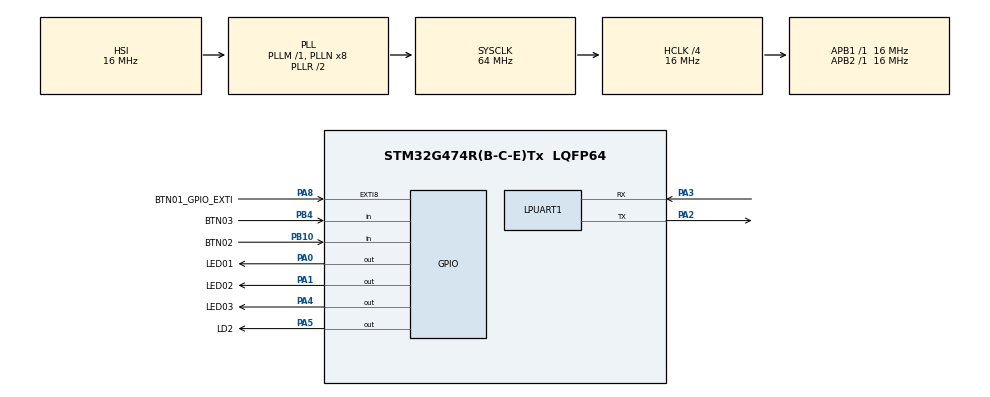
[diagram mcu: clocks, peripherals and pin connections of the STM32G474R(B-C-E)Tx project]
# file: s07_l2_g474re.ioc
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Dma.LPUART1_TX.0.Direction=DMA_MEMORY_TO_PERIPH
Dma.LPUART1_TX.0.EventEnable=DISABLE
Dma.LPUART1_TX.0.Instance=DMA1_Channel1
Dma.LPUART1_TX.0.MemDataAlignment=DMA_MDATAALIGN_BYTE
Dma.LPUART1_TX.0.MemInc=DMA_MINC_ENABLE
Dma.LPUART1_TX.0.Mode=DMA_NORMAL
Dma.LPUART1_TX.0.PeriphDataAlignment=DMA_PDATAALIGN_BYTE
Dma.LPUART1_TX.0.PeriphInc=DMA_PINC_DISABLE
Dma.LPUART1_TX.0.Polarity=HAL_DMAMUX_REQ_GEN_RISING
Dma.LPUART1_TX.0.Priority=DMA_PRIORITY_LOW
Dma.LPUART1_TX.0.RequestNumber=1
Dma.LPUART1_TX.0.SignalID=NONE
Dma.LPUART1_TX.0.SyncEnable=DISABLE
Dma.LPUART1_TX.0.SyncPolarity=HAL_DMAMUX_SYNC_NO_EVENT
Dma.LPUART1_TX.0.SyncRequestNumber=1
Dma.LPUART1_TX.0.SyncSignalID=NONE
Dma.Request0=LPUART1_TX
Mcu.Family=STM32G4
Mcu.Name=STM32G474R(B-C-E)Tx
Mcu.Package=LQFP64
NVIC.DMA1_Channel1_IRQn=true\:0\:0\:false\:false\:true\:false\:true\:true
NVIC.EXTI9_5_IRQn=true\:5\:0\:true\:false\:true\:true\:true\:true
NVIC.LPUART1_IRQn=true\:5\:0\:true\:false\:true\:true\:true\:true
NVIC.PriorityGroup=NVIC_PRIORITYGROUP_4
NVIC.TIM1_BRK_TIM15_IRQn=true\:15\:0\:false\:false\:true\:false\:true\:true
NVIC.TimeBase=TIM1_BRK_TIM15_IRQn
NVIC.TimeBaseIP=TIM15
PA0.GPIO_Label=LED01
PA0.Signal=GPIO_Output
PA1.GPIO_Label=LED02
PA1.Signal=GPIO_Output
PA13.Mode=Serial_Wire
PA13.Signal=SYS_JTMS-SWDIO
PA14.Mode=Serial_Wire
PA14.Signal=SYS_JTCK-SWCLK
PA2.Mode=Asynchronous
PA2.Signal=LPUART1_TX
PA3.Mode=Asynchronous
PA3.Signal=LPUART1_RX
PA4.GPIO_Label=LED03
PA4.Signal=GPIO_Output
PA5.GPIO_Label=LD2
PA5.Signal=GPIO_Output
PA8.GPIO_Label=BTN01_GPIO_EXTI
PA8.GPIO_ModeDefaultEXTI=GPIO_MODE_IT_FALLING
PA8.GPIO_PuPd=GPIO_PULLUP
PA8.Signal=GPXTI8
PB10.GPIO_Label=BTN02
PB10.GPIO_PuPd=GPIO_PULLUP
PB10.Signal=GPIO_Input
PB4.GPIO_Label=BTN03
PB4.GPIO_PuPd=GPIO_PULLUP
PB4.Signal=GPIO_Input
ProjectManager.HeapSize=0x200
ProjectManager.StackSize=0x400
ProjectManager.TargetToolchain=STM32CubeIDE
RCC.ADC12Freq_Value=64000000
RCC.ADC345Freq_Value=64000000
RCC.AHBCLKDivider=RCC_SYSCLK_DIV4
RCC.AHBFreq_Value=16000000
RCC.APB1Freq_Value=16000000
RCC.APB1TimFreq_Value=16000000
RCC.APB2Freq_Value=16000000
RCC.APB2TimFreq_Value=16000000
RCC.CortexFreq_Value=16000000
RCC.EXTERNAL_CLOCK_VALUE=12288000
RCC.HCLKFreq_Value=16000000
RCC.HSE_VALUE=24000000
RCC.HSI48_VALUE=48000000
RCC.HSI_VALUE=16000000
RCC.LSE_VALUE=32768
RCC.RTCClockSelection=RCC_RTCCLKSOURCE_LSE
RCC.SYSCLKFreq_VALUE=64000000
RCC.SYSCLKSource=RCC_SYSCLKSOURCE_PLLCLK
RCC.USBFreq_Value=64000000
RCC.VCOOutputFreq_Value=128000000
VP_SYS_VS_DBSignals.Mode=DisableDeadBatterySignals
VP_SYS_VS_tim15.Mode=TIM15
board=NUCLEO-G474RE

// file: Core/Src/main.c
/* USER CODE BEGIN Header */
/**
  ******************************************************************************
  * @file           : main.c
  * @brief          : Main program body
  ******************************************************************************
  * @attention
  *
  * Copyright (c) 2026 STMicroelectronics.
  * All rights reserved.
  *
  * This software is licensed under terms that can be found in the LICENSE file
  * in the root directory of this software component.
  * If no LICENSE file comes with this software, it is provided AS-IS.
  *
  ******************************************************************************

  */
/* USER CODE END Header */
#include "main.h"

/* USER CODE BEGIN Includes */
#include <stdio.h>
#include <string.h>
#include "FreeRTOS.h"
#include "task.h"
#include <semphr.h>
/* USER CODE END Includes */

UART_HandleTypeDef hlpuart1;
DMA_HandleTypeDef hdma_lpuart1_tx;

/* USER CODE BEGIN PV */

UBaseType_t xWaterMark01 = 0;

SemaphoreHandle_t xUartTxSemaphore = NULL;

/* USER CODE END PV */

void SystemClock_Config(void);
static void MX_GPIO_Init(void);
static void MX_DMA_Init(void);
static void MX_LPUART1_UART_Init(void);

/* USER CODE BEGIN 0 */

/* Hardware realted functions */

// Led interno da NUCLEO-G474RE
void LedLD2On(){
	HAL_GPIO_WritePin(LD2_GPIO_Port, LD2_Pin, GPIO_PIN_SET);
}

void LedLD2Off(){
	HAL_GPIO_WritePin(LD2_GPIO_Port, LD2_Pin, GPIO_PIN_RESET);
}

void Led01On(){
	HAL_GPIO_WritePin(LED01_GPIO_Port, LED01_Pin, GPIO_PIN_SET);
}

void Led01Off(){
	HAL_GPIO_WritePin(LED01_GPIO_Port, LED01_Pin, GPIO_PIN_RESET);
}

/* Local functions*/

/* Callbacks */
void HAL_UART_TxHalfCpltCallback(UART_HandleTypeDef *huart){
	BaseType_t pxHigherPriorityTaskWoken = pdFALSE;

	// Libera o semaforo
	xSemaphoreGiveFromISR(xUartTxSemaphore, &pxHigherPriorityTaskWoken);

	if(pxHigherPriorityTaskWoken == pdTRUE){
		portYIELD_FROM_ISR(pxHigherPriorityTaskWoken);
	}

	Led01Off();
}

void HAL_GPIO_EXTI_Callback(uint16_t GPIO_Pin){

}

/* Tasks */
void TaskUartMessage(void *pvParams){
	char pcMessage[64];
	uint32_t u32MessageIdx = 0;

	while (1){
		// Retorna a quantidade mínima de espaço livre que restou na pilha
		xWaterMark01 = uxTaskGetStackHighWaterMark( NULL );

		vTaskDelay(pdMS_TO_TICKS(500));

		sprintf(pcMessage, "[%ld] This is a message from Mars to Earth\n", u32MessageIdx);

		HAL_UART_Transmit_DMA(&hlpuart1, (uint8_t*)pcMessage, strlen(pcMessage));

		Led01On();

		// Obter o semaforo
		xSemaphoreTake(xUartTxSemaphore, portMAX_DELAY);

		u32MessageIdx++;
	}
}

/* Hooks*/
void vApplicationStackOverflowHook( TaskHandle_t xTask, char *pcTaskName ){
	Error_Handler();
	LedLD2Off();
}

/* USER CODE END 0 */

int main(void)
{

  /* USER CODE BEGIN 1 */
	TaskHandle_t TaskHandle01;
	BaseType_t xReturn;
	BaseType_t uxStackDepth = 164; // em words

  /* USER CODE END 1 */

  /* MCU Configuration--------------------------------------------------------*/

  /* Reset of all peripherals, Initializes the Flash interface and the Systick. */
  HAL_Init();

  /* Configure the system clock */
  SystemClock_Config();

  /* Initialize all configured peripherals */
  MX_GPIO_Init();
  MX_DMA_Init();
  MX_LPUART1_UART_Init();
  /* USER CODE BEGIN 2 */

  LedLD2On();

  // Criando as task
  xReturn = xTaskCreate(TaskUartMessage,
  		  "Task UART Message",
		  uxStackDepth,
  		  NULL,
  		  1,
  		  &TaskHandle01);

  if (xReturn != pdPASS){
    Error_Handler();
  }

  // Criando o semaforo
  xUartTxSemaphore = xSemaphoreCreateBinary();

  /* USER CODE END 2 */

  /* Infinite loop */
  /* USER CODE BEGIN WHILE */

  // Inicializando o FreeRTOS
  vTaskStartScheduler();

  /* Never reaches here */
  while (1)
  {
    /* USER CODE END WHILE */

  }
}

void SystemClock_Config(void)
{
  RCC_OscInitTypeDef RCC_OscInitStruct = {0};
  RCC_ClkInitTypeDef RCC_ClkInitStruct = {0};

  /** Configure the main internal regulator output voltage
  */
  HAL_PWREx_ControlVoltageScaling(PWR_REGULATOR_VOLTAGE_SCALE1);

  /** Initializes the RCC Oscillators according to the specified parameters
  * in the RCC_OscInitTypeDef structure.
  */
  RCC_OscInitStruct.OscillatorType = RCC_OSCILLATORTYPE_HSI;
  RCC_OscInitStruct.HSIState = RCC_HSI_ON;
  RCC_OscInitStruct.HSICalibrationValue = RCC_HSICALIBRATION_DEFAULT;
  RCC_OscInitStruct.PLL.PLLState = RCC_PLL_ON;
  RCC_OscInitStruct.PLL.PLLSource = RCC_PLLSOURCE_HSI;
  RCC_OscInitStruct.PLL.PLLM = RCC_PLLM_DIV1;
  RCC_OscInitStruct.PLL.PLLN = 8;
  RCC_OscInitStruct.PLL.PLLP = RCC_PLLP_DIV2;
  RCC_OscInitStruct.PLL.PLLQ = RCC_PLLQ_DIV2;
  RCC_OscInitStruct.PLL.PLLR = RCC_PLLR_DIV2;
  if (HAL_RCC_OscConfig(&RCC_OscInitStruct) != HAL_OK)
  {
    Error_Handler();
  }

  /** Initializes the CPU, AHB and APB buses clocks
  */
  RCC_ClkInitStruct.ClockType = RCC_CLOCKTYPE_HCLK|RCC_CLOCKTYPE_SYSCLK
                              |RCC_CLOCKTYPE_PCLK1|RCC_CLOCKTYPE_PCLK2;
  RCC_ClkInitStruct.SYSCLKSource = RCC_SYSCLKSOURCE_PLLCLK;
  RCC_ClkInitStruct.AHBCLKDivider = RCC_SYSCLK_DIV4;
  RCC_ClkInitStruct.APB1CLKDivider = RCC_HCLK_DIV1;
  RCC_ClkInitStruct.APB2CLKDivider = RCC_HCLK_DIV1;

  if (HAL_RCC_ClockConfig(&RCC_ClkInitStruct, FLASH_LATENCY_0) != HAL_OK)
  {
    Error_Handler();
  }
}

static void MX_LPUART1_UART_Init(void)
{

  hlpuart1.Instance = LPUART1;
  hlpuart1.Init.BaudRate = 115200;
  hlpuart1.Init.WordLength = UART_WORDLENGTH_8B;
  hlpuart1.Init.StopBits = UART_STOPBITS_1;
  hlpuart1.Init.Parity = UART_PARITY_NONE;
  hlpuart1.Init.Mode = UART_MODE_TX_RX;
  hlpuart1.Init.HwFlowCtl = UART_HWCONTROL_NONE;
  hlpuart1.Init.OneBitSampling = UART_ONE_BIT_SAMPLE_DISABLE;
  hlpuart1.Init.ClockPrescaler = UART_PRESCALER_DIV1;
  hlpuart1.AdvancedInit.AdvFeatureInit = UART_ADVFEATURE_NO_INIT;
  if (HAL_UART_Init(&hlpuart1) != HAL_OK)
  {
    Error_Handler();
  }
  if (HAL_UARTEx_SetTxFifoThreshold(&hlpuart1, UART_TXFIFO_THRESHOLD_1_8) != HAL_OK)
  {
    Error_Handler();
  }
  if (HAL_UARTEx_SetRxFifoThreshold(&hlpuart1, UART_RXFIFO_THRESHOLD_1_8) != HAL_OK)
  {
    Error_Handler();
  }
  if (HAL_UARTEx_DisableFifoMode(&hlpuart1) != HAL_OK)
  {
    Error_Handler();
  }

}

static void MX_DMA_Init(void)
{

  /* DMA controller clock enable */
  __HAL_RCC_DMAMUX1_CLK_ENABLE();
  __HAL_RCC_DMA1_CLK_ENABLE();

  /* DMA interrupt init */
  /* DMA1_Channel1_IRQn interrupt configuration */
  HAL_NVIC_SetPriority(DMA1_Channel1_IRQn, 0, 0);
  HAL_NVIC_EnableIRQ(DMA1_Channel1_IRQn);

}

static void MX_GPIO_Init(void)
{
  GPIO_InitTypeDef GPIO_InitStruct = {0};

  /* GPIO Ports Clock Enable */
  __HAL_RCC_GPIOA_CLK_ENABLE();
  __HAL_RCC_GPIOB_CLK_ENABLE();

  /*Configure GPIO pin Output Level */
  HAL_GPIO_WritePin(GPIOA, LED01_Pin|LED02_Pin|LED03_Pin|LD2_Pin, GPIO_PIN_RESET);

  /*Configure GPIO pins : LED01_Pin LED02_Pin LED03_Pin LD2_Pin */
  GPIO_InitStruct.Pin = LED01_Pin|LED02_Pin|LED03_Pin|LD2_Pin;
  GPIO_InitStruct.Mode = GPIO_MODE_OUTPUT_PP;
  GPIO_InitStruct.Pull = GPIO_NOPULL;
  GPIO_InitStruct.Speed = GPIO_SPEED_FREQ_LOW;
  HAL_GPIO_Init(GPIOA, &GPIO_InitStruct);

  /*Configure GPIO pins : BTN02_Pin BTN03_Pin */
  GPIO_InitStruct.Pin = BTN02_Pin|BTN03_Pin;
  GPIO_InitStruct.Mode = GPIO_MODE_INPUT;
  GPIO_InitStruct.Pull = GPIO_PULLUP;
  HAL_GPIO_Init(GPIOB, &GPIO_InitStruct);

  /*Configure GPIO pin : BTN01_GPIO_EXTI_Pin */
  GPIO_InitStruct.Pin = BTN01_GPIO_EXTI_Pin;
  GPIO_InitStruct.Mode = GPIO_MODE_IT_FALLING;
  GPIO_InitStruct.Pull = GPIO_PULLUP;
  HAL_GPIO_Init(BTN01_GPIO_EXTI_GPIO_Port, &GPIO_InitStruct);

  /* EXTI interrupt init*/
  HAL_NVIC_SetPriority(EXTI9_5_IRQn, 5, 0);
  HAL_NVIC_EnableIRQ(EXTI9_5_IRQn);

}

/* USER CODE BEGIN 4 */

// Redireciona os Prints para a USART
int __io_putchar(int ch){
	HAL_UART_Transmit(&hlpuart1, (uint8_t*)&ch, 1, HAL_MAX_DELAY);
	return ch;
}
/* USER CODE END 4 */

void HAL_TIM_PeriodElapsedCallback(TIM_HandleTypeDef *htim)
{
  if (htim->Instance == TIM15)
  {
    HAL_IncTick();
  }
}

void Error_Handler(void)
{
  __disable_irq();
  while (1)
  {
  }
}
